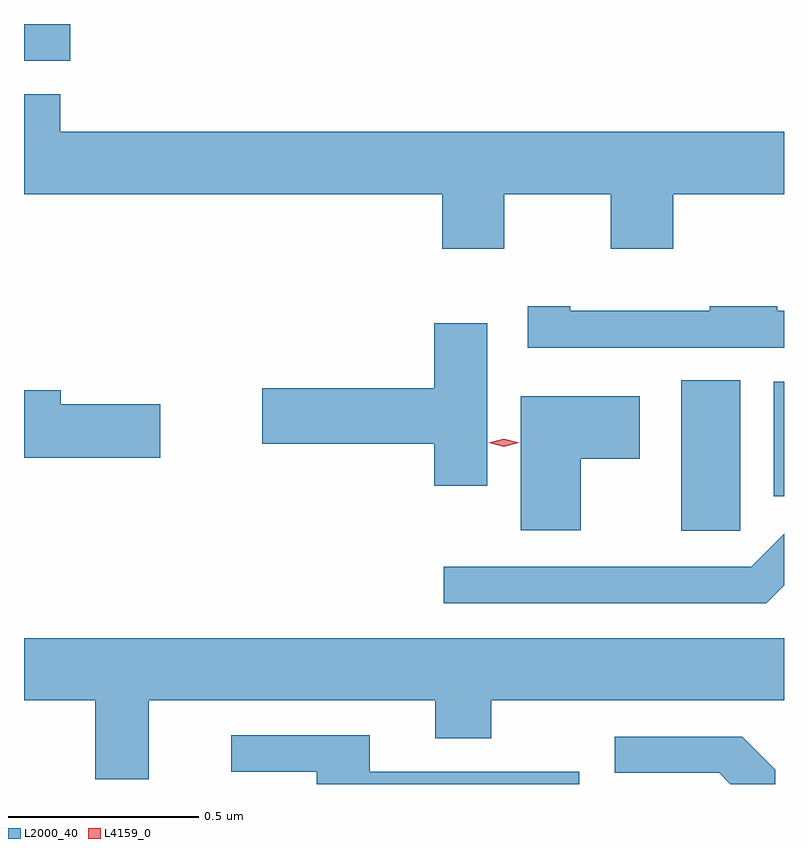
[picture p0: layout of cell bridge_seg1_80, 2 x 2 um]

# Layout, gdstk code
import gdstk
lib = gdstk.Library(unit=1e-6, precision=1e-09)
def R(c, l, rs):  # rectangles x0, y0, x1, y1
    for r in rs: c.add(gdstk.rectangle(r[:2], r[2:], *l))
def P(c, l, *ps):  # polygons
    for p in ps: c.add(gdstk.Polygon(p, *l))
L2000_40 = (2000, 40)
L4159_0 = (4159, 0)

bridge_seg1_80 = lib.new_cell('bridge_seg1_80')
R(bridge_seg1_80, L2000_40, [(532.739,532.199,532.894,532.595), (532.982,532.289,533.009,532.591), (531.009,533.435,531.131,533.532)])
P(bridge_seg1_80, L2000_40, [(532.273,533.084),(532.553,533.084),(532.553,532.941),(532.717,532.941),(532.717,533.084),(533.009,533.084),(533.009,533.248),(531.104,533.248),(531.104,533.347),(531.009,533.347),(531.009,533.084),(532.109,533.084),(532.109,532.941),(532.273,532.941)],
  [(533.009,532.777),(532.991,532.777),(532.991,532.789),(532.813,532.789),(532.813,532.777),(532.447,532.777),(532.447,532.789),(532.335,532.789),(532.335,532.68),(533.009,532.68)],
  [(532.228,532.744),(532.088,532.744),(532.088,532.574),(531.636,532.574),(531.636,532.427),(532.088,532.427),(532.088,532.317),(532.228,532.317)],
  [(531.367,532.532),(531.106,532.532),(531.106,532.568),(531.009,532.568),(531.009,532.39),(531.367,532.39)],
  [(532.474,532.388),(532.63,532.388),(532.63,532.552),(532.316,532.552),(532.316,532.2),(532.474,532.2)],
  [(533.009,532.055),(533.009,532.19),(532.923,532.104),(532.113,532.104),(532.113,532.008),(532.962,532.008)],
  [(531.337,531.752),(532.091,531.752),(532.091,531.653),(532.239,531.653),(532.239,531.752),(533.009,531.752),(533.009,531.916),(531.009,531.916),(531.009,531.752),(531.197,531.752),(531.197,531.544),(531.337,531.544)],
  [(532.47,531.564),(531.919,531.564),(531.919,531.66),(531.555,531.66),(531.555,531.564),(531.779,531.564),(531.779,531.532),(532.47,531.532)],
  [(532.986,531.57),(532.899,531.657),(532.563,531.657),(532.563,531.561),(532.839,531.561),(532.868,531.532),(532.986,531.532)])
P(bridge_seg1_80, L4159_0, [(532.272,532.42),(532.232,532.43),(532.232,532.43),(532.232,532.43),(532.272,532.44),(532.312,532.43),(532.312,532.43),(532.312,532.43)])

lib.write_gds('bridge_seg1_80.gds')
